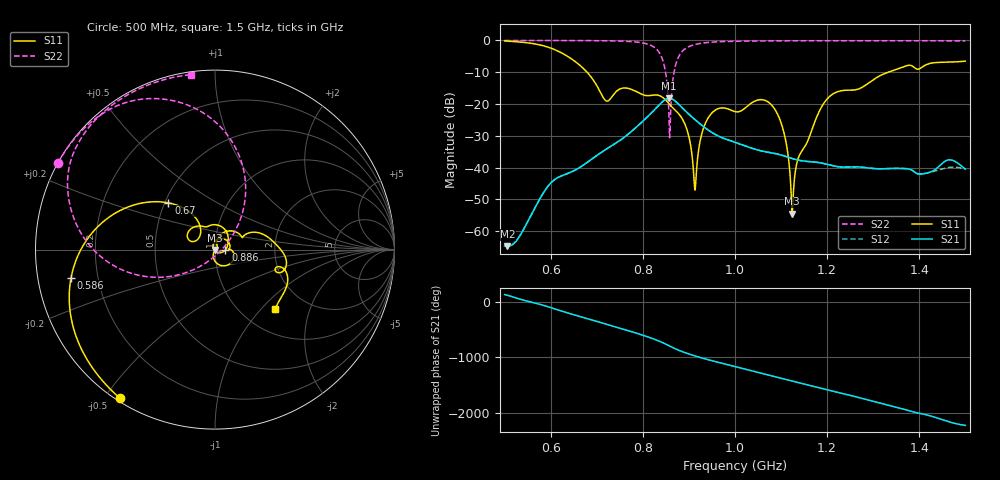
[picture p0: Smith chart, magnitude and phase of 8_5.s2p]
! TOUCHSTONE file generated by CST MICROWAVE STUDIO
! Date and time: Fri Oct  2 19:09:01 2020
! Project name: Scenario_1_Free_Space_out_of_line.cst
! Parameters = {Lambda=346.42; Step_1=17.321; dy1=226.253; dx1=866; L_HA=400; MT=2.54; Rad_Dielectric=30; Rad_Lower=7.3; Rad_Upper=30; a_HA=580; a_WG=246; b_HA=500; b_WG=121; c_HA=0; c_WG=187; d_feed=85; h_feed=15; h_lower=18; h_upper=40}
! Header version: 2018
! Port assignment regex: !\s*Touchstone port\s*([0-9]+)\s*=\s*(CST MWS port|CST DS port)\s*([0-9]+|Zmin|Zmax)\s*\(\"(.*)\"\)(\s*mode\s*([0-9]+))?.*
! Touchstone port assignment:
! Touchstone port 1 = CST MWS port 1 ("")
! Touchstone port 2 = CST MWS port 2 ("")
# GHz S DB R 50
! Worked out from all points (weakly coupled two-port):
!   1003 points, 500 MHz to 1.5 GHz, reference 50 ohm
!   highest |S21| = -18.22 dB at 857 MHz (marker M1); lowest = -64.7 dB at 506 MHz (marker M2)
!   lowest |S11| = -54.5 dB at 1.124 GHz (marker M3), VSWR 1.00, Z = 50.1 - j0.133 ohm
!   |S11| at or under -10 dB: 678.9 MHz to 1.332 GHz (653.5 MHz wide, 65 % of centre)
!   |S22| runs from -30.6 to 0.0 dB; largest |S21 - S12| = 0.0033
!   S11 on the Smith chart (normalised r, x): 500 MHz: 0.01, -0.55; 586 MHz: 0.10, -0.10; 670 MHz: 0.52, +0.31; 886 MHz: 1.12, -0.01; 1.5 GHz: 1.40, -1.20
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0.5  -0.15 -122.5  -64.63 135.5  -64.63 135.5  -0.01 151.1
0.506  -0.21 -125.1  -64.75 122.5  -64.72 122.6  -0.01 150.7
0.586  -1.76 -169.0  -47.55 -63.8  -47.55 -64.2  -0.02 145.1
0.667  -8.29 136.8  -39.62 92.1  -39.62 92.1  -0.04 138.3
0.67  -8.69 134.9  -39.33 85.0  -39.33 85.0  -0.05 138.0
0.721  -19.07 142.1  -34.19 -41.7  -34.19 -41.7  -0.11 132.0
0.834  -17.28 81.9  -20.51 19.4  -20.51 19.4  -3.48 86.2
0.847  -18.38 59.3  -18.78 -28.4  -18.78 -28.4  -8.28 63.7
0.857  -19.95 43.3  -18.22 -69.6  -18.22 -69.6  -25.11 18.0
0.87  -21.92 25.7  -19.05 -122.3  -19.05 -122.3  -8.39 -156.2
0.886  -24.79 -2.7  -21.29 -177.0  -21.29 -177.0  -3.35 179.8
0.913  -47.12 -139.5  -24.91 107.6  -24.91 107.6  -1.30 161.0
0.943  -24.10 70.4  -28.32 35.8  -28.32 35.8  -0.61 150.8
1  -22.41 0.3  -32.06 -86.7  -32.06 -86.7  -0.26 140.2
1.084  -21.15 -74.5  -35.51 96.2  -35.51 96.2  -0.14 131.1
1.108  -30.11 -108.2  -36.41 44.2  -36.41 44.2  -0.12 129.0
1.124  -54.50 -44.6  -37.16 11.0  -37.16 11.0  -0.11 127.6
1.137  -37.17 37.9  -37.66 -14.8  -37.66 -14.8  -0.10 126.5
1.167  -28.08 74.8  -38.20 -75.0  -38.20 -75.0  -0.10 124.1
1.209  -17.20 49.1  -39.32 -163.7  -39.32 -163.7  -0.09 120.9
1.334  -9.92 9.6  -40.32 -62.9  -40.32 -62.8  -0.09 111.4
1.5  -6.53 -45.0  -40.50 -68.6  -40.48 -68.8  -0.14 97.8
